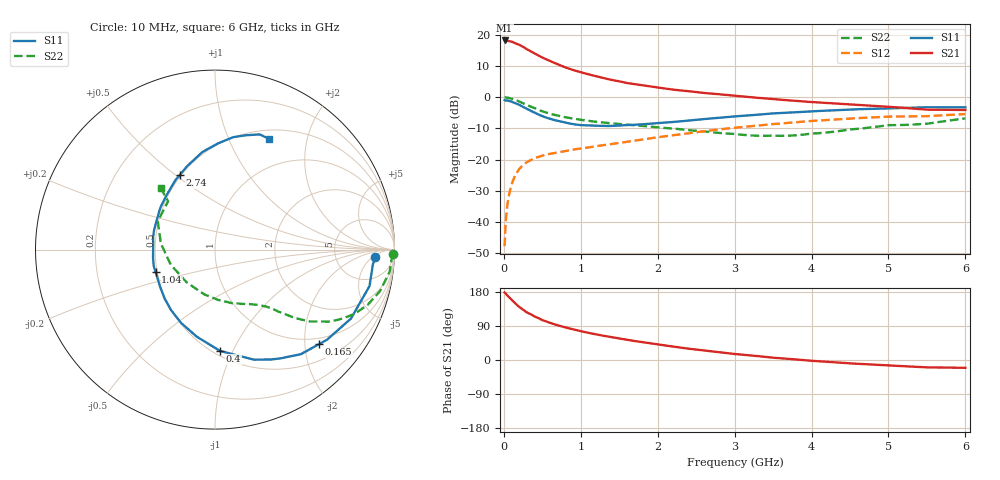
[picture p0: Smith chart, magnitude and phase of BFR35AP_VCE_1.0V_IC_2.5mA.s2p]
! Infineon Technologies  Discrete & RF Semiconductors
! BFR35AP
! VCE =  1.0 V,  IC =  2.5 mA
! Common Emitter S-Parameters:  Nov 2015
# GHz  S  MA  R  50
!  f  S11  S21  S12  S22
! GHz  MAG  ANG  MAG  ANG  MAG  ANG  MAG  ANG
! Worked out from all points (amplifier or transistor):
!   210 points, 10 MHz to 6 GHz, reference 50 ohm
!   highest |S21| = 18.1 dB at 10 MHz (marker M1)
!   |S21| within 3 dB of that: start of sweep to 314.1 MHz
!   unconditionally stable (mu >= 1): 975.2 MHz to end of sweep
!   at 185 MHz: K = 0.26, MSG = 20.2 dB, |S12| = -23.6 dB
!   at 1.52 GHz: K = 1.19, MAG = 7.2 dB, |S12| = -14.6 dB
!   at 6 GHz: K = 1.05, MAG = -0.7 dB, |S12| = -5.4 dB
!   S11 on the Smith chart (normalised r, x): 10 MHz: 15, -7; 165 MHz: 0.85, -2.32; 400 MHz: 0.54, -0.89; 1.04 GHz: 0.49, -0.14; 2.74 GHz: 0.49, +0.52; 6 GHz: 0.61, +1.42
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0.01  0.8947 -2.8  8.078 178.1  0.0041 90.2  0.9939 -1.4
0.025  0.8826 -6.6  7.938 174.6  0.0101 83.8  0.9848 -3.5
0.04  0.8824 -10.6  7.937 171.5  0.0163 82.4  0.9821 -5.7
0.1  0.8494 -26.9  7.785 159.0  0.0396 74.7  0.9488 -14.0
0.15  0.8011 -38.8  7.272 148.7  0.0566 68.1  0.9041 -20.0
0.165  0.7836 -42.2  7.138 146.2  0.0607 66.2  0.8883 -21.4
0.2  0.754 -50.6  6.88 140.1  0.0705 62.6  0.8536 -24.9
0.26  0.6872 -63.0  6.286 131.0  0.0837 56.9  0.7863 -29.9
0.3  0.6506 -70.5  5.848 125.6  0.0911 54.4  0.747 -32.5
0.4  0.5648 -87.2  5.004 114.9  0.1055 49.0  0.6639 -37.1
0.5  0.4962 -101.7  4.302 105.3  0.1153 45.7  0.5932 -40.2
0.6  0.4506 -114.7  3.784 97.8  0.1234 43.7  0.5419 -42.2
0.8  0.3913 -135.8  2.988 85.9  0.1373 41.8  0.4755 -45.1
1.02  0.3548 -157.1  2.464 75.2  0.1512 41.8  0.4295 -47.8
1.04  0.3539 -159.0  2.426 74.3  0.1526 41.8  0.4262 -48.2
1.6  0.3565 161.9  1.681 53.1  0.1925 42.6  0.3611 -57.2
2.02  0.3859 141.3  1.415 40.5  0.2293 42.2  0.3264 -66.8
2.74  0.4596 115.3  1.127 21.9  0.2978 38.0  0.2708 -91.2
3.1  0.5004 106.0  1.026 14.1  0.332 34.4  0.2492 -108.4
4.1  0.5999 86.7  0.819 -3.4  0.4223 22.8  0.2647 -166.8
5.1  0.6649 73.6  0.687 -15.5  0.4878 9.2  0.3561 149.6
6  0.6866 63.8  0.622 -20.6  0.5354 -0.6  0.4556 131.4
